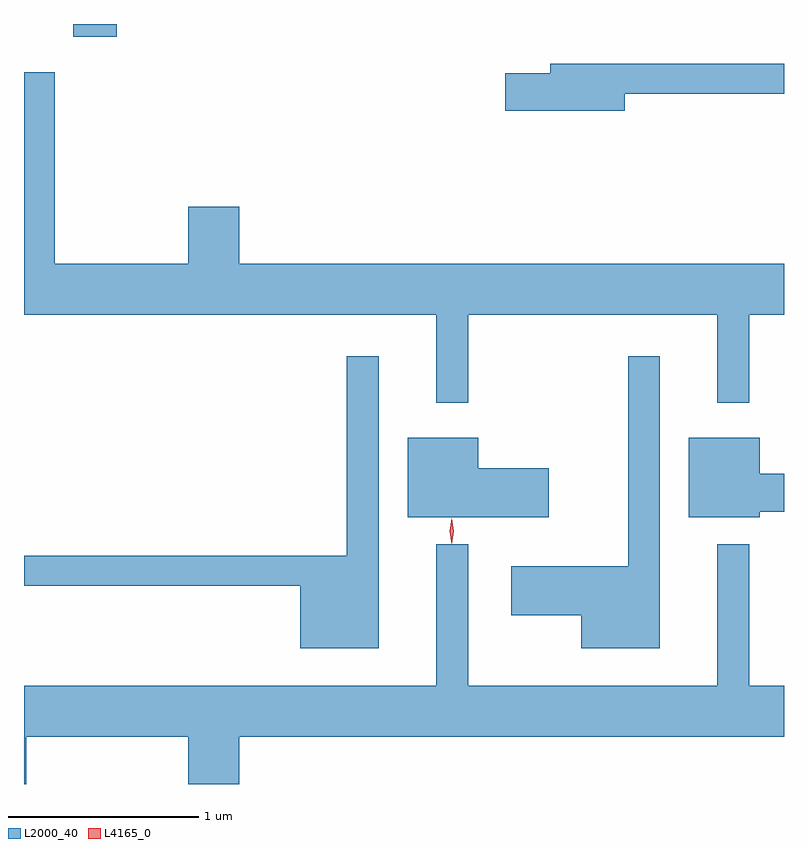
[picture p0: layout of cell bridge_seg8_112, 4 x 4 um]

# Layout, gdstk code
import gdstk
lib = gdstk.Library(unit=1e-6, precision=1e-09)
def R(c, l, rs):  # rectangles x0, y0, x1, y1
    for r in rs: c.add(gdstk.rectangle(r[:2], r[2:], *l))
def P(c, l, *ps):  # polygons
    for p in ps: c.add(gdstk.Polygon(p, *l))
L2000_40 = (2000, 40)
L4165_0 = (4165, 0)

bridge_seg8_112 = lib.new_cell('bridge_seg8_112')
R(bridge_seg8_112, L2000_40, [(1453.231,1873.401,1453.459,1873.467)])
P(bridge_seg8_112, L2000_40, [(1456.134,1873.101),(1456.972,1873.101),(1456.972,1873.259),(1455.741,1873.259),(1455.741,1873.209),(1455.506,1873.209),(1455.506,1873.011),(1456.134,1873.011)],
  [(1455.309,1871.936),(1456.621,1871.936),(1456.621,1871.473),(1456.789,1871.473),(1456.789,1871.936),(1456.972,1871.936),(1456.972,1872.204),(1454.104,1872.204),(1454.104,1872.504),(1453.836,1872.504),(1453.836,1872.204),(1453.134,1872.204),(1453.134,1873.214),(1452.972,1873.214),(1452.972,1871.936),(1455.141,1871.936),(1455.141,1871.473),(1455.309,1871.473)],
  [(1456.319,1871.718),(1456.151,1871.718),(1456.151,1870.614),(1455.536,1870.614),(1455.536,1870.356),(1455.906,1870.356),(1455.906,1870.181),(1456.319,1870.181)],
  [(1454.839,1871.718),(1454.671,1871.718),(1454.671,1870.669),(1452.972,1870.669),(1452.972,1870.511),(1454.426,1870.511),(1454.426,1870.181),(1454.839,1870.181)],
  [(1455.734,1871.129),(1455.364,1871.129),(1455.364,1871.289),(1454.991,1871.289),(1454.991,1870.871),(1455.734,1870.871)],
  [(1456.844,1870.901),(1456.972,1870.901),(1456.972,1871.099),(1456.844,1871.099),(1456.844,1871.289),(1456.471,1871.289),(1456.471,1870.871),(1456.844,1870.871)],
  [(1452.984,1869.716),(1453.836,1869.716),(1453.836,1869.467),(1454.104,1869.467),(1454.104,1869.716),(1456.972,1869.716),(1456.972,1869.984),(1456.789,1869.984),(1456.789,1870.728),(1456.621,1870.728),(1456.621,1869.984),(1455.309,1869.984),(1455.309,1870.728),(1455.141,1870.728),(1455.141,1869.984),(1452.972,1869.984),(1452.972,1869.467),(1452.984,1869.467)])
P(bridge_seg8_112, L4165_0, [(1455.224,1870.73),(1455.224,1870.73),(1455.214,1870.798),(1455.223,1870.866),(1455.223,1870.866),(1455.224,1870.866),(1455.234,1870.798),(1455.224,1870.73)],
  [(1455.224,1870.733),(1455.224,1870.733),(1455.214,1870.796),(1455.223,1870.859),(1455.223,1870.859),(1455.224,1870.859),(1455.234,1870.796),(1455.224,1870.733)])

lib.write_gds('bridge_seg8_112.gds')
